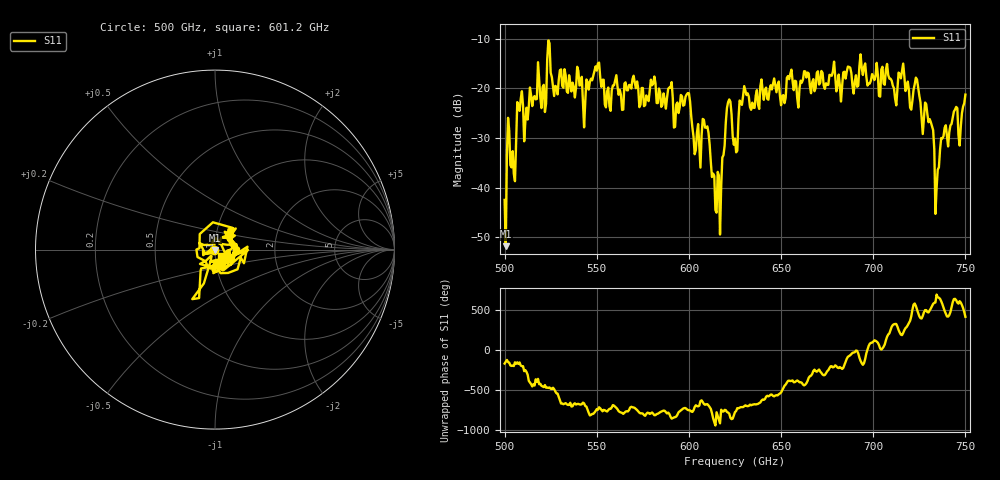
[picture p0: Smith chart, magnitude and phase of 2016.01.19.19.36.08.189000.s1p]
!Created with skrf (http://scikit-rf.org).
# GHz S RI R 50.0
!freq ReS11 ImS11
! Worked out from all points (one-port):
!   401 points, 500 GHz to 750 GHz, reference 50 ohm
!   lowest |S11| = -51.8 dB at 500.6 GHz (marker M1), VSWR 1.01, Z = 49.8 - j0.139 ohm
!   |S11| at or under -10 dB: start of sweep to end of sweep
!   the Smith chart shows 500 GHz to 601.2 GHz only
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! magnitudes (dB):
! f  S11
! 500 GHz  -42.5
! 500.6 GHz  -51.8
! 502.5 GHz  -28.5
! 505 GHz  -37.2
! 508.1 GHz  -24.5
! 521.2 GHz  -19.3
! 524.4 GHz  -10.9
! 527.5 GHz  -19.5
! 531.2 GHz  -19.5
! 543.8 GHz  -22.7
! 550 GHz  -16.4
! 562.5 GHz  -20.3
! 580.6 GHz  -19.1
! 593.8 GHz  -22.8
! 599.4 GHz  -21.0
! 605 GHz  -27.2
! 608.8 GHz  -27.9
! 615.6 GHz  -36.8
! 621.2 GHz  -22.8
! 625 GHz  -30.1
! 630.6 GHz  -20.5
! 656.2 GHz  -18.6
! 687.5 GHz  -15.8
! 718.8 GHz  -18.6
! 729.4 GHz  -25.2
! 734.4 GHz  -40.0
! 738.1 GHz  -29.6
! 750 GHz  -21.2
